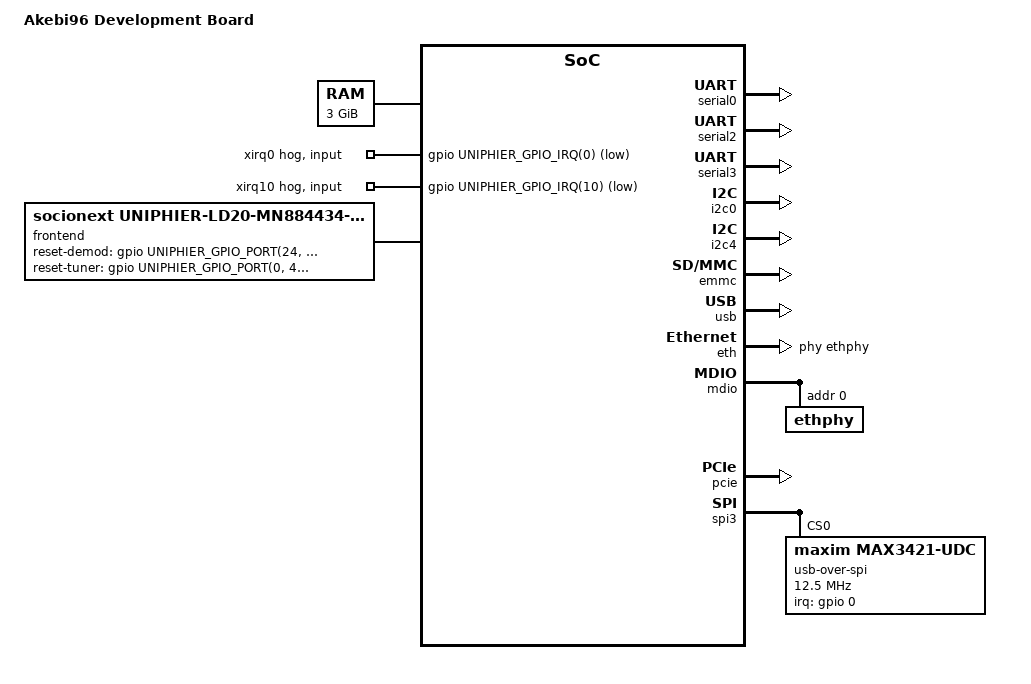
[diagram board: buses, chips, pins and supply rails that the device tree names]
// SPDX-License-Identifier: GPL-2.0+ OR MIT
//
// Device Tree Source for Akebi96 Development Board
//
// Copyright (C) 2015-2017 Socionext Inc.
//   Author: Masahiro Yamada <yamada.masahiro@socionext.com>
//           Kunihiko Hayashi <hayashi.kunihiko@socionext.com>

/dts-v1/;
#include "uniphier-ph1-ld20.dtsi"

/ {
	model = "Akebi96 Development Board";
	compatible = "socionext,ph1-ld20-akebi96", "socionext,ph1-ld20";

	chosen {
		stdout-path = "serial0:115200n8";
		bootargs = "earlycon";
	};

	aliases {
		serial0 = &serial0;
		serial1 = &serial1;
		serial2 = &serial2;
		serial3 = &serial3;
		i2c0 = &i2c0;
		i2c1 = &i2c1;
		i2c2 = &i2c2;
		i2c3 = &i2c3;
		i2c4 = &i2c4;
		i2c5 = &i2c5;
	};

	memory {
		device_type = "memory";
		reg = <0 0x80000000 0 0xc0000000>;
	};
};

&serial0 {
	status = "okay";
};

&serial2 {
	status = "okay";
};

&serial3 {
	status = "okay";
};

&i2c0 {
	status = "okay";
};

&i2c4 {
	status = "okay";
};

&emmc {
	status = "okay";
};

&usb {
	status = "okay";
};

&eth {
	status = "okay";
	phy-handle = <&ethphy>;
};

&mdio {
	ethphy: ethphy@0 {
		reg = <0>;
	};
};

&pcie {
	status = "okay";
};

&spi3 {
	status = "okay";
	#address-cells = <1>;
	#size-cells = <0>;
	usb-over-spi@0 {
		compatible = "maxim,max3421-udc";
		reg = <0>;
		spi-max-frequency = <12500000>;
		interrupt-parent = <&gpio>;
		interrupts = <0 2>, <10 3>;
	};
};

&gpio {
	xirq0 {
		gpio-hog;
		gpios = <UNIPHIER_GPIO_IRQ(0) 1>;
		input;
	};
	xirq10 {
		gpio-hog;
		gpios = <UNIPHIER_GPIO_IRQ(10) 1>;
		input;
	};
};

&pinctrl_ether_rgmii {
	tx {
		pins = "RGMII_TXD0", "RGMII_TXD1", "RGMII_TXD2",
		       "RGMII_TXD3", "RGMII_TXCTL";
		drive-strength = <12>;
	};

	txclk {
		pins = "RGMII_TXCLK";
		drive-strength = <9>;
	};
};

&soc {
	sound {
		/delete-property/ simple-audio-card,widgets;
		/delete-node/ simple-audio-card,dai-link@0;
		/delete-node/ simple-audio-card,dai-link@1;
		/* 2: SPDIF */
		/delete-node/ simple-audio-card,dai-link@3;
		/delete-node/ simple-audio-card,dai-link@4;
		/delete-node/ simple-audio-card,dai-link@5;
		/delete-node/ simple-audio-card,dai-link@6;
		/delete-node/ simple-audio-card,dai-link@7;
	};

	frontend {
		compatible = "socionext,uniphier-ld20-mn884434-helene";
		clock-names = "demod-mclk";
		clocks = <&demod_clk>;
		demux = <&hsc>;
		reset-demod-gpios = <&gpio UNIPHIER_GPIO_PORT(24, 0) GPIO_ACTIVE_LOW>;
		demod-i2c-bus = <&i2c0>;
		reset-tuner-gpios = <&gpio UNIPHIER_GPIO_PORT(0, 4) GPIO_ACTIVE_LOW>;
		tuner-i2c-bus = <&i2c4>;
	};
};
